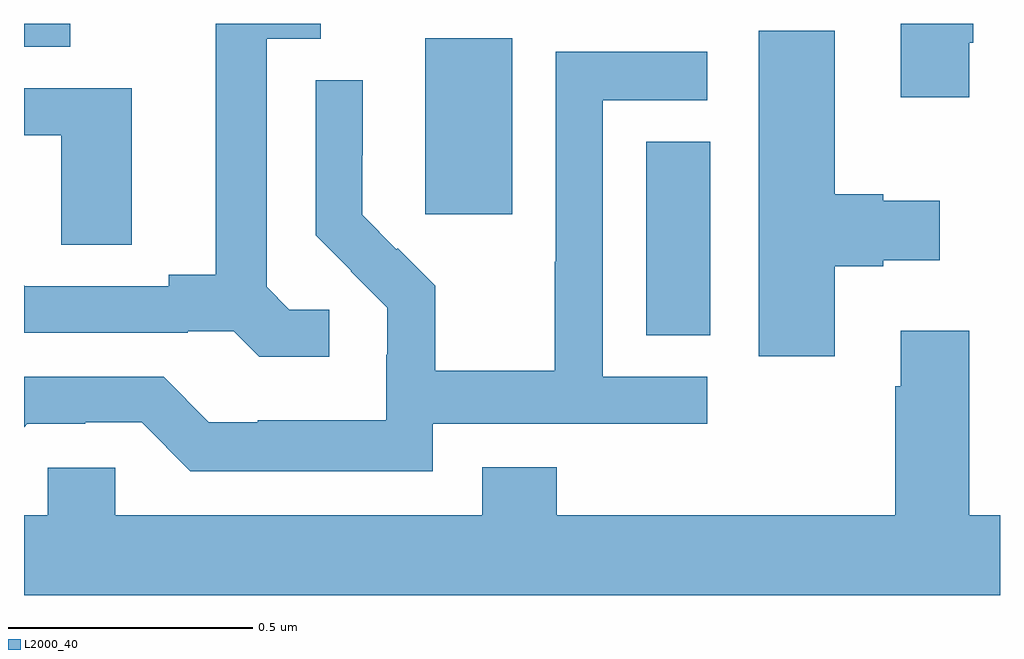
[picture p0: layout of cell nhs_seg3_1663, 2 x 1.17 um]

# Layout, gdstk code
import gdstk
lib = gdstk.Library(unit=1e-6, precision=1e-09)
def R(c, l, rs):  # rectangles x0, y0, x1, y1
    for r in rs: c.add(gdstk.rectangle(r[:2], r[2:], *l))
def P(c, l, *ps):  # polygons
    for p in ps: c.add(gdstk.Polygon(p, *l))
L2000_40 = (2000, 40)

nhs_seg3_1663 = lib.new_cell('nhs_seg3_1663')
R(nhs_seg3_1663, L2000_40, [(132.275,722.761,132.406,723.158), (131.822,723.009,132.001,723.37), (131,723.352,131.095,723.4)])
P(nhs_seg3_1663, L2000_40, [(132.937,723.361),(132.945,723.361),(132.945,723.4),(132.797,723.4),(132.797,723.249),(132.937,723.249)],
  [(131.626,722.814),(131.544,722.814),(131.497,722.861),(131.497,723.369),(131.608,723.369),(131.608,723.4),(131.393,723.4),(131.393,722.885),(131.297,722.885),(131.297,722.862),(131.002,722.862),(131,722.864),(131,722.766),(131.336,722.766),(131.336,722.769),(131.43,722.769),(131.482,722.717),(131.626,722.717)],
  [(132.661,722.903),(132.761,722.903),(132.761,722.915),(132.877,722.915),(132.877,723.037),(132.761,723.037),(132.761,723.05),(132.661,723.05),(132.661,723.385),(132.506,723.385),(132.506,722.718),(132.661,722.718)],
  [(131.838,722.58),(132.4,722.58),(132.4,722.676),(132.186,722.676),(132.186,723.243),(132.4,723.243),(132.4,723.342),(132.09,723.342),(132.09,722.912),(132.088,722.912),(132.088,722.689),(131.843,722.689),(131.843,722.863),(131.766,722.94),(131.763,722.937),(131.693,723.008),(131.693,723.13),(131.694,723.13),(131.694,723.284),(131.598,723.284),(131.598,722.966),(131.671,722.893),(131.67,722.892),(131.744,722.818),(131.744,722.721),(131.742,722.721),(131.742,722.587),(131.479,722.587),(131.479,722.583),(131.379,722.583),(131.286,722.676),(131,722.676),(131,722.573),(131.007,722.58),(131.126,722.58),(131.126,722.583),(131.241,722.583),(131.341,722.483),(131.838,722.483)],
  [(131.221,723.267),(131,723.267),(131,723.171),(131.076,723.171),(131.076,722.947),(131.221,722.947)],
  [(133,722.392),(132.937,722.392),(132.937,722.77),(132.797,722.77),(132.797,722.657),(132.785,722.657),(132.785,722.392),(132.092,722.392),(132.092,722.491),(131.939,722.491),(131.939,722.392),(131.187,722.392),(131.187,722.49),(131.049,722.49),(131.049,722.392),(131,722.392),(131,722.228),(133,722.228)])

lib.write_gds('nhs_seg3_1663.gds')
